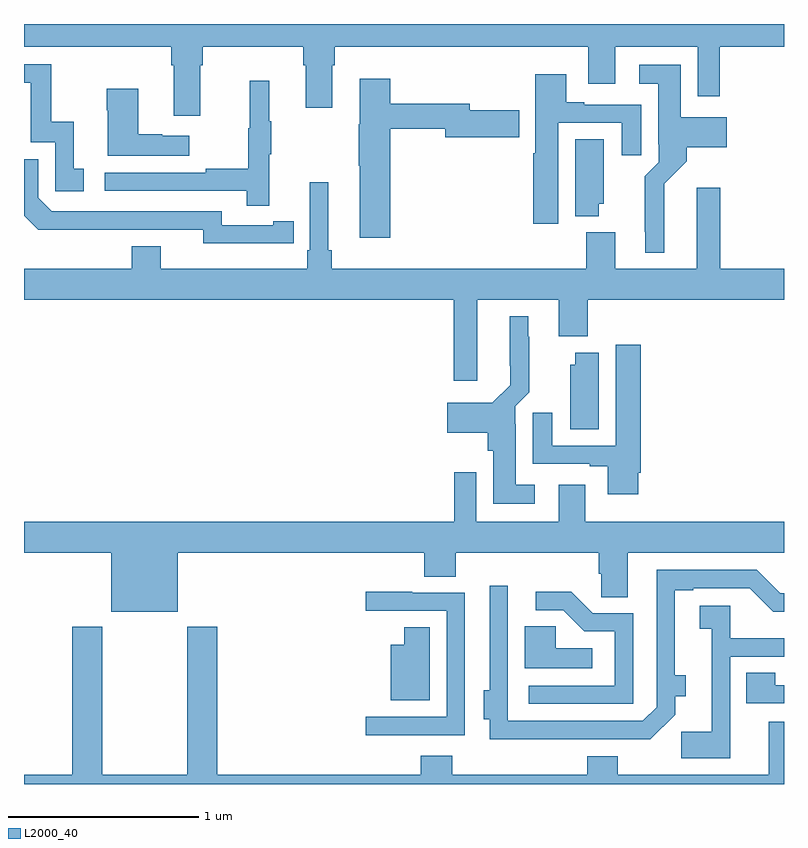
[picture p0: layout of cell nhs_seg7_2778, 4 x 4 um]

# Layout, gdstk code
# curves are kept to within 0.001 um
import gdstk
lib = gdstk.Library(unit=1e-6, precision=1e-09)
def P(c, l, *ps):  # polygons
    for p in ps: c.add(gdstk.Polygon(p, *l))
L2000_40 = (2000, 40)

nhs_seg7_2778 = lib.new_cell('nhs_seg7_2778')
P(nhs_seg7_2778, L2000_40, [(289,1069.88),(289.775,1069.88),(289.775,1069.784),(289.787,1069.784),(289.787,1069.518),(289.927,1069.518),(289.927,1069.784),(289.94,1069.784),(289.94,1069.88),(290.471,1069.88),(290.471,1069.784),(290.483,1069.784),(290.483,1069.56),(290.623,1069.56),(290.623,1069.784),(290.636,1069.784),(290.636,1069.88),(291.971,1069.88),(291.971,1069.686),(292.111,1069.686),(292.111,1069.88),(292.545,1069.88),(292.545,1069.62),(292.661,1069.62),(292.661,1069.88),(293,1069.88),(293,1070),(289,1070)],
  [(289.315,1069.239),(289.262,1069.239),(289.262,1069.486),(289.144,1069.486),(289.144,1069.788),(289,1069.788),(289,1069.692),(289.035,1069.692),(289.035,1069.377),(289.164,1069.377),(289.164,1069.119),(289.315,1069.119)],
  [(292.369,1069.16),(292.487,1069.278),(292.487,1069.352),(292.699,1069.352),(292.699,1069.51),(292.456,1069.51),(292.456,1069.786),(292.239,1069.786),(292.239,1069.685),(292.337,1069.685),(292.337,1069.366),(292.341,1069.366),(292.341,1069.272),(292.267,1069.198),(292.267,1068.907),(292.271,1068.907),(292.271,1068.797),(292.369,1068.797)],
  [(291.811,1069.479),(292.145,1069.479),(292.145,1069.308),(292.249,1069.308),(292.249,1069.575),(291.949,1069.575),(291.949,1069.588),(291.853,1069.588),(291.853,1069.735),(291.692,1069.735),(291.692,1069.319),(291.68,1069.319),(291.68,1068.948),(291.811,1068.948)],
  [(290.927,1069.45),(291.218,1069.45),(291.218,1069.403),(291.607,1069.403),(291.607,1069.545),(291.346,1069.545),(291.346,1069.579),(290.927,1069.579),(290.927,1069.711),(290.768,1069.711),(290.768,1069.473),(290.761,1069.473),(290.761,1069.255),(290.768,1069.255),(290.768,1068.876),(290.927,1068.876)],
  [(290.291,1069.315),(290.302,1069.315),(290.302,1069.489),(290.291,1069.489),(290.291,1069.702),(290.188,1069.702),(290.188,1069.452),(290.181,1069.452),(290.181,1069.238),(289.957,1069.238),(289.957,1069.218),(289.425,1069.218),(289.425,1069.122),(290.173,1069.122),(290.173,1069.044),(290.291,1069.044)],
  [(289.87,1069.411),(289.727,1069.411),(289.727,1069.421),(289.6,1069.421),(289.6,1069.66),(289.435,1069.66),(289.435,1069.547),(289.442,1069.547),(289.442,1069.307),(289.87,1069.307)],
  [(292.024,1069.053),(292.051,1069.053),(292.051,1069.394),(291.902,1069.394),(291.902,1068.989),(292.024,1068.989)],
  [(290.312,1068.846),(290.42,1068.846),(290.42,1068.962),(290.312,1068.962),(290.312,1068.942),(290.04,1068.942),(290.04,1069.014),(289.146,1069.014),(289.074,1069.086),(289.074,1069.287),(289,1069.287),(289,1068.992),(289.076,1068.917),(289.944,1068.918),(289.944,1068.845)],
  [(291.385,1068.548),(291.815,1068.548),(291.815,1068.356),(291.968,1068.356),(291.968,1068.548),(293,1068.548),(293,1068.712),(292.664,1068.712),(292.664,1069.138),(292.541,1069.138),(292.541,1068.712),(292.111,1068.712),(292.111,1068.904),(291.959,1068.904),(291.959,1068.712),(290.621,1068.712),(290.621,1068.808),(290.602,1068.808),(290.602,1069.168),(290.505,1069.168),(290.505,1068.808),(290.492,1068.808),(290.492,1068.712),(289.72,1068.712),(289.72,1068.829),(289.568,1068.829),(289.568,1068.712),(289,1068.712),(289,1068.548),(291.263,1068.548),(291.263,1068.123),(291.385,1068.123)],
  [(291.688,1067.575),(291.589,1067.575),(291.589,1067.894),(291.585,1067.894),(291.585,1067.988),(291.659,1068.062),(291.659,1068.353),(291.655,1068.353),(291.655,1068.463),(291.557,1068.463),(291.558,1068.1),(291.465,1068.007),(291.228,1068.007),(291.228,1067.849),(291.44,1067.849),(291.44,1067.754),(291.47,1067.754),(291.47,1067.474),(291.688,1067.474)],
  [(292.234,1067.638),(292.247,1067.638),(292.247,1068.313),(292.115,1068.313),(292.115,1067.781),(291.781,1067.781),(291.781,1067.953),(291.677,1067.953),(291.677,1067.685),(291.977,1067.685),(291.977,1067.673),(292.073,1067.673),(292.073,1067.526),(292.234,1067.526)],
  [(292.024,1068.271),(291.902,1068.271),(291.902,1068.207),(291.875,1068.207),(291.875,1067.866),(292.024,1067.866)],
  [(289.81,1067.216),(291.107,1067.216),(291.107,1067.092),(291.272,1067.092),(291.272,1067.216),(292.025,1067.216),(292.025,1067.107),(292.038,1067.107),(292.038,1066.984),(292.177,1066.984),(292.177,1067.216),(293,1067.216),(293,1067.38),(291.955,1067.38),(291.955,1067.575),(291.815,1067.575),(291.815,1067.38),(291.381,1067.38),(291.381,1067.641),(291.265,1067.641),(291.265,1067.38),(289,1067.38),(289,1067.216),(289.46,1067.216),(289.46,1066.907),(289.81,1066.907)],
  [(291.881,1066.236),(292.297,1066.235),(292.427,1066.364),(292.427,1066.463),(292.483,1066.463),(292.483,1066.573),(292.426,1066.573),(292.426,1067.019),(292.522,1067.019),(292.522,1067.031),(292.82,1067.031),(292.944,1066.907),(293,1066.907),(293,1067.004),(292.98,1067.004),(292.857,1067.127),(292.329,1067.127),(292.329,1066.404),(292.257,1066.332),(291.546,1066.332),(291.546,1067.044),(291.45,1067.044),(291.45,1066.493),(291.419,1066.493),(291.419,1066.34),(291.45,1066.34),(291.45,1066.235)],
  [(292.206,1066.899),(291.993,1066.899),(291.88,1067.012),(291.693,1067.012),(291.693,1066.914),(291.837,1066.914),(291.948,1066.803),(292.11,1066.803),(292.11,1066.518),(291.657,1066.518),(291.657,1066.422),(292.206,1066.422)],
  [(291.321,1067.007),(291.043,1067.007),(291.043,1067.011),(290.799,1067.011),(290.799,1066.911),(291.225,1066.911),(291.225,1066.353),(290.799,1066.353),(290.799,1066.257),(291.321,1066.257)],
  [(292.716,1066.671),(293,1066.671),(293,1066.768),(292.716,1066.768),(292.716,1066.939),(292.557,1066.939),(292.557,1066.818),(292.619,1066.818),(292.619,1066.275),(292.458,1066.275),(292.458,1066.136),(292.716,1066.136)],
  [(291.991,1066.714),(291.799,1066.714),(291.799,1066.829),(291.635,1066.829),(291.635,1066.61),(291.991,1066.61)],
  [(293,1066.327),(292.919,1066.327),(292.919,1066.048),(292.125,1066.048),(292.125,1066.147),(291.965,1066.147),(291.965,1066.048),(291.254,1066.048),(291.254,1066.15),(291.089,1066.15),(291.089,1066.048),(290.018,1066.048),(290.018,1066.828),(289.858,1066.828),(289.858,1066.048),(289.413,1066.048),(289.413,1066.828),(289.253,1066.828),(289.253,1066.048),(289,1066.048),(289,1066),(293,1066)],
  [(291.136,1066.826),(291.002,1066.826),(291.002,1066.732),(290.93,1066.732),(290.93,1066.442),(291.136,1066.442)],
  [(293,1066.521),(292.953,1066.521),(292.953,1066.586),(292.801,1066.586),(292.801,1066.425),(293,1066.425)])

lib.write_gds('nhs_seg7_2778.gds')
